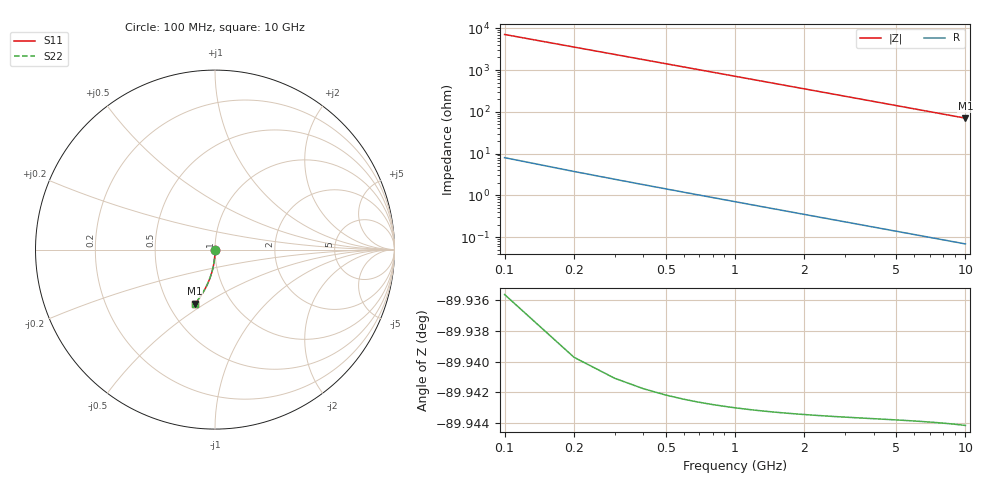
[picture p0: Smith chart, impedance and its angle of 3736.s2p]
# Hz S RI R 50.00
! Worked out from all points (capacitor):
!   100 points, 100 MHz to 10 GHz, reference 50 ohm
!   read as one part in shunt: C = 224 fF near 100 MHz
!   lowest |Z| = 70.5 ohm at 10 GHz (marker M1)
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1e8  1.49e-05 -0.00338  1 -0.00366  1 -0.00366  1.49e-05 -0.00338
2e8  -2.56e-05 -0.00677  0.9999 -0.00732  0.9999 -0.00732  -2.56e-05 -0.00677
3e8  -9.08e-05 -0.0102  0.9998 -0.011  0.9998 -0.011  -9.08e-05 -0.0102
4e8  -0.000181 -0.0135  0.9998 -0.0146  0.9998 -0.0146  -0.000181 -0.0135
5e8  -0.000296 -0.0169  0.9996 -0.0183  0.9996 -0.0183  -0.000296 -0.0169
6e8  -0.000435 -0.0203  0.9995 -0.022  0.9995 -0.022  -0.000435 -0.0203
7e8  -0.0006 -0.0237  0.9993 -0.0256  0.9993 -0.0256  -0.0006 -0.0237
8e8  -0.000789 -0.0271  0.9991 -0.0293  0.9991 -0.0293  -0.000789 -0.0271
9e8  -0.001 -0.0304  0.9989 -0.0329  0.9989 -0.0329  -0.001 -0.0304
1.1e9  -0.0015 -0.0372  0.9984 -0.0402  0.9984 -0.0402  -0.0015 -0.0372
1.4e9  -0.00244 -0.0473  0.9975 -0.0512  0.9975 -0.0512  -0.00244 -0.0473
1.8e9  -0.00404 -0.0607  0.9959 -0.0657  0.9959 -0.0657  -0.00404 -0.0607
2.1e9  -0.00549 -0.0708  0.9944 -0.0766  0.9944 -0.0766  -0.00549 -0.0708
2.5e9  -0.00777 -0.0841  0.9921 -0.091  0.9921 -0.091  -0.00777 -0.0841
2.9e9  -0.0104 -0.0973  0.9895 -0.1054  0.9895 -0.1054  -0.0104 -0.0973
3.4e9  -0.0143 -0.1137  0.9856 -0.1232  0.9856 -0.1232  -0.0143 -0.1137
4.2e9  -0.0217 -0.1395  0.9782 -0.1512  0.9782 -0.1512  -0.0217 -0.1395
5.1e9  -0.0317 -0.1677  0.9681 -0.182  0.9681 -0.182  -0.0317 -0.1677
5.9e9  -0.042 -0.1921  0.9578 -0.2086  0.9578 -0.2086  -0.042 -0.1921
6.7e9  -0.0536 -0.2156  0.9461 -0.2344  0.9461 -0.2344  -0.0536 -0.2156
8.4e9  -0.082 -0.2623  0.9176 -0.286  0.9176 -0.286  -0.082 -0.2623
1e10  -0.1127 -0.3018  0.8868 -0.3302  0.8868 -0.3302  -0.1127 -0.3018
